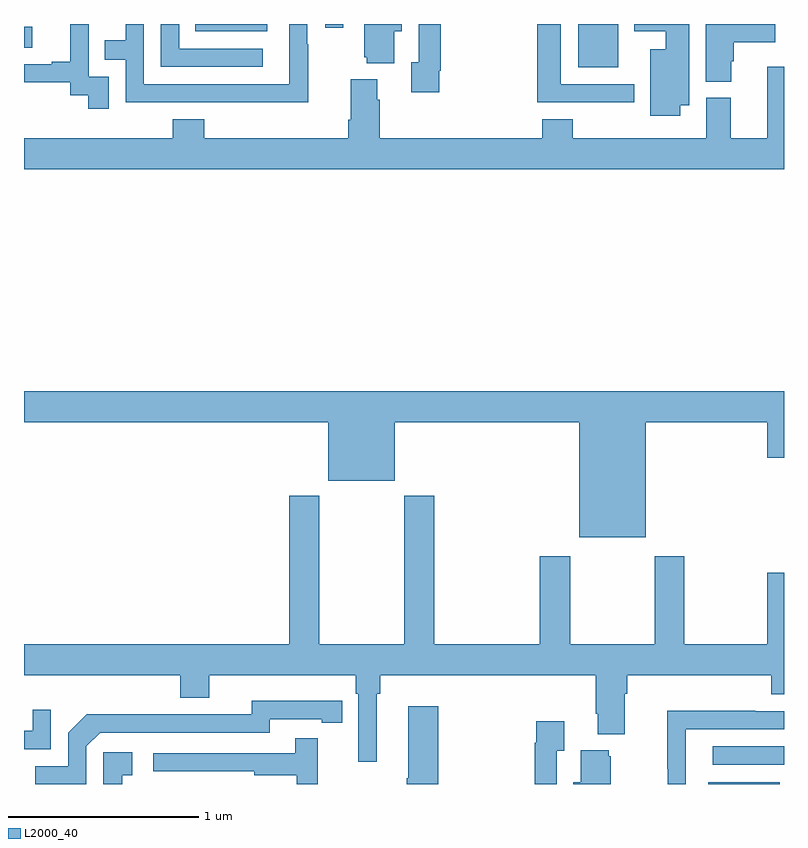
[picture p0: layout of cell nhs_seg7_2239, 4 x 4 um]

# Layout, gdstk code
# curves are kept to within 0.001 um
import gdstk
lib = gdstk.Library(unit=1e-6, precision=1e-09)
def R(c, l, rs):  # rectangles x0, y0, x1, y1
    for r in rs: c.add(gdstk.rectangle(r[:2], r[2:], *l))
def P(c, l, *ps):  # polygons
    for p in ps: c.add(gdstk.Polygon(p, *l))
L2000_40 = (2000, 40)

nhs_seg7_2239 = lib.new_cell('nhs_seg7_2239')
R(nhs_seg7_2239, L2000_40, [(260.6,1044,260.978,1044.01), (260.625,1044.102,261,1044.198), (259.916,1047.773,260.128,1048), (257,1047.876,257.044,1047.985), (257.902,1047.962,258.28,1048), (258.585,1047.981,258.681,1048)])
P(nhs_seg7_2239, L2000_40, [(258.495,1047.893),(258.492,1047.893),(258.492,1048),(258.396,1048),(258.396,1047.684),(257.631,1047.684),(257.631,1048),(257.535,1048),(257.535,1047.914),(257.425,1047.914),(257.425,1047.813),(257.535,1047.813),(257.535,1047.588),(258.031,1047.588),(258.031,1047.587),(258.495,1047.587)],
  [(258.256,1047.87),(257.817,1047.87),(257.817,1048),(257.721,1048),(257.721,1047.774),(258.256,1047.774)],
  [(260.722,1047.805),(260.735,1047.805),(260.735,1047.905),(260.953,1047.905),(260.953,1048),(260.588,1048),(260.588,1047.697),(260.722,1047.697)],
  [(258.949,1047.962),(258.988,1047.962),(258.988,1048),(258.791,1048),(258.791,1047.825),(258.803,1047.825),(258.803,1047.794),(258.949,1047.794)],
  [(257.445,1047.723),(257.34,1047.723),(257.34,1047.953),(257.342,1047.953),(257.342,1048),(257.243,1048),(257.243,1047.802),(257.147,1047.802),(257.147,1047.789),(257,1047.789),(257,1047.693),(257.244,1047.693),(257.244,1047.625),(257.337,1047.625),(257.337,1047.555),(257.445,1047.555)],
  [(260.212,1047.684),(259.825,1047.684),(259.825,1048),(259.7,1048),(259.7,1047.587),(260.212,1047.587)],
  [(259.186,1047.754),(259.193,1047.754),(259.193,1048),(259.077,1048),(259.077,1047.798),(259.037,1047.798),(259.037,1047.642),(259.186,1047.642)],
  [(260.455,1047.572),(260.5,1047.572),(260.5,1048),(260.213,1048),(260.213,1047.962),(260.378,1047.962),(260.378,1047.868),(260.297,1047.868),(260.297,1047.516),(260.455,1047.516)],
  [(261,1047.775),(260.912,1047.775),(260.912,1047.4),(260.719,1047.4),(260.719,1047.612),(260.591,1047.612),(260.591,1047.4),(259.887,1047.4),(259.887,1047.499),(259.727,1047.499),(259.727,1047.4),(258.872,1047.4),(258.872,1047.602),(258.859,1047.602),(258.859,1047.709),(258.719,1047.709),(258.719,1047.496),(258.707,1047.496),(258.707,1047.4),(257.948,1047.4),(257.948,1047.499),(257.783,1047.499),(257.783,1047.4),(257,1047.4),(257,1047.236),(261,1047.236)],
  [(260.272,1045.904),(260.912,1045.904),(260.912,1045.716),(261,1045.716),(261,1046.068),(257,1046.068),(257,1045.904),(258.602,1045.904),(258.602,1045.595),(258.952,1045.595),(258.952,1045.904),(259.922,1045.904),(259.922,1045.298),(260.272,1045.298)],
  [(260.009,1044.37),(260.021,1044.37),(260.021,1044.263),(260.161,1044.263),(260.161,1044.476),(260.174,1044.476),(260.174,1044.572),(260.933,1044.572),(260.933,1044.473),(261,1044.473),(261,1045.111),(260.912,1045.111),(260.912,1044.736),(260.475,1044.736),(260.475,1045.198),(260.32,1045.198),(260.32,1044.736),(259.875,1044.736),(259.875,1045.198),(259.715,1045.198),(259.715,1044.736),(259.16,1044.736),(259.16,1045.516),(259,1045.516),(259,1044.736),(258.555,1044.736),(258.555,1045.516),(258.395,1045.516),(258.395,1044.736),(257,1044.736),(257,1044.572),(257.822,1044.572),(257.822,1044.455),(257.974,1044.455),(257.974,1044.572),(258.746,1044.572),(258.746,1044.476),(258.759,1044.476),(258.759,1044.117),(258.856,1044.117),(258.856,1044.476),(258.875,1044.476),(258.875,1044.572),(260.009,1044.572)],
  [(257.328,1044.198),(257.4,1044.27),(258.294,1044.27),(258.294,1044.342),(258.566,1044.342),(258.566,1044.322),(258.674,1044.322),(258.674,1044.438),(258.198,1044.439),(258.198,1044.366),(257.738,1044.366),(257.738,1044.368),(257.33,1044.368),(257.232,1044.27),(257.232,1044.093),(257.058,1044.093),(257.058,1044),(257.328,1044)],
  [(259.181,1044.409),(259.022,1044.409),(259.022,1044.029),(259.015,1044.029),(259.015,1044),(259.181,1044)],
  [(257.142,1044.391),(257.045,1044.391),(257.045,1044.279),(257,1044.279),(257,1044.183),(257.142,1044.183)],
  [(260.484,1044.288),(261,1044.288),(261,1044.384),(260.849,1044.384),(260.849,1044.386),(260.386,1044.386),(260.386,1044.079),(260.388,1044.079),(260.388,1044),(260.484,1044)],
  [(259.803,1044.175),(259.843,1044.175),(259.843,1044.331),(259.695,1044.331),(259.695,1044.218),(259.687,1044.218),(259.687,1044),(259.803,1044)],
  [(258.545,1044.241),(258.427,1044.241),(258.427,1044.162),(257.679,1044.162),(257.679,1044.066),(258.211,1044.066),(258.211,1044.046),(258.435,1044.046),(258.435,1044),(258.545,1044)],
  [(260.089,1044.147),(260.078,1044.147),(260.078,1044.178),(259.931,1044.178),(259.931,1044.01),(259.892,1044.01),(259.892,1044),(260.089,1044)],
  [(257.516,1044.045),(257.569,1044.045),(257.569,1044.166),(257.418,1044.166),(257.418,1044),(257.516,1044)])

lib.write_gds('nhs_seg7_2239.gds')
